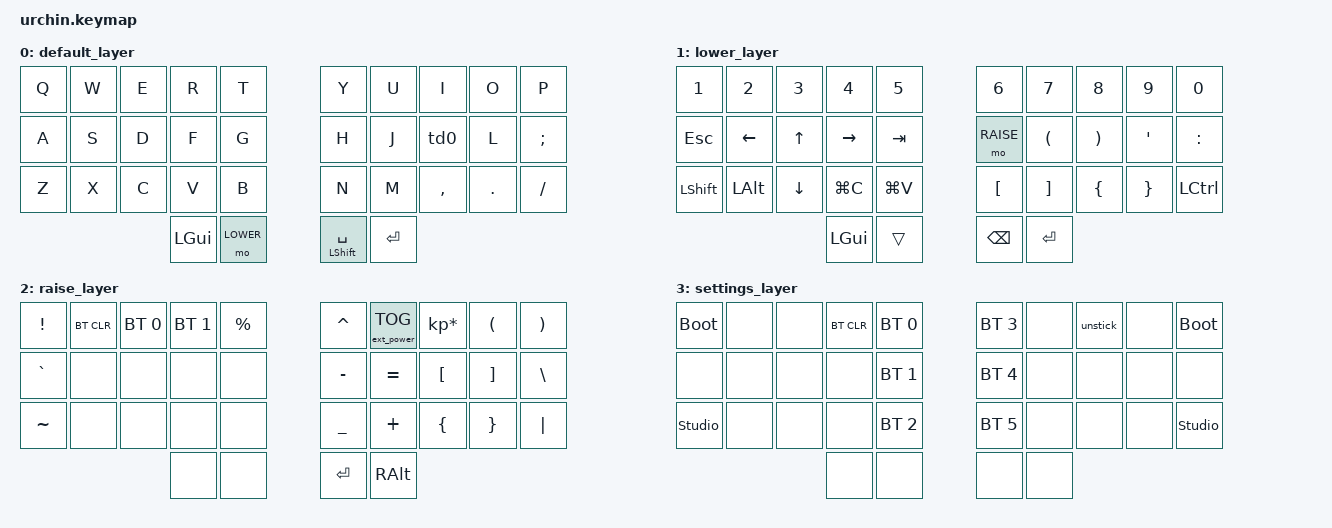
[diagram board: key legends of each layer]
/*
 * Copyright (c) 2020 duckyb
 *
 * SPDX-License-Identifier: MIT
 */

#include <behaviors.dtsi>
#include <dt-bindings/zmk/keys.h>
#include <dt-bindings/zmk/bt.h>
#include <dt-bindings/zmk/ext_power.h>
#include <dt-bindings/zmk/outputs.h>

// Layer definitions
#define BASE 0
#define LOWER 1
#define RAISE 2
#define SETTINGS 3
// -----------------

/ {
	behaviors {
		td0: tap_dance_0 {
			compatible = "zmk,behavior-tap-dance";
			#binding-cells = <0>;
			tapping-term-ms = <175>;
			bindings = <&kp Q>, <&kp N1>;
		};
		td1: tap_dance_1 {
			compatible = "zmk,behavior-tap-dance";
			#binding-cells = <0>;
			tapping-term-ms = <175>;
			bindings = <&kp W>, <&kp N2>;
		};
		td2: tap_dance_2 {
			compatible = "zmk,behavior-tap-dance";
			#binding-cells = <0>;
			tapping-term-ms = <175>;
			bindings = <&kp E>, <&kp N3>;
		};
		td3: tap_dance_3 {
			compatible = "zmk,behavior-tap-dance";
			#binding-cells = <0>;
			tapping-term-ms = <175>;
			bindings = <&kp R>, <&kp N4>;
		};
		td4: tap_dance_4 {
			compatible = "zmk,behavior-tap-dance";
			#binding-cells = <0>;
			tapping-term-ms = <175>;
			bindings = <&kp T>, <&kp N5>;
		};
		td5: tap_dance_5 {
			compatible = "zmk,behavior-tap-dance";
			#binding-cells = <0>;
			tapping-term-ms = <175>;
			bindings = <&kp Y>, <&kp N6>;
		};
		td6: tap_dance_6 {
			compatible = "zmk,behavior-tap-dance";
			#binding-cells = <0>;
			tapping-term-ms = <175>;
			bindings = <&kp U>, <&kp N7>;
		};
		td7: tap_dance_7 {
			compatible = "zmk,behavior-tap-dance";
			#binding-cells = <0>;
			tapping-term-ms = <175>;
			bindings = <&kp I>, <&kp N8>;
		};
		td8: tap_dance_8 {
			compatible = "zmk,behavior-tap-dance";
			#binding-cells = <0>;
			tapping-term-ms = <175>;
			bindings = <&kp O>, <&kp N9>;
		};
		td9: tap_dance_9 {
			compatible = "zmk,behavior-tap-dance";
			#binding-cells = <0>;
			tapping-term-ms = <175>;
			bindings = <&kp P>, <&kp N0>;
		};
		td10: tap_dance_10 {
			compatible = "zmk,behavior-tap-dance";
			#binding-cells = <0>;
			tapping-term-ms = <175>;
			bindings = <&kp V>, <&kp LG(C)>;
		};
		td11: tap_dance_11 {
			compatible = "zmk,behavior-tap-dance";
			#binding-cells = <0>;
			tapping-term-ms = <175>;
			bindings = <&kp B>, <&kp LG(V)>;
		};
		td12: tap_dance_12 {
			compatible = "zmk,behavior-tap-dance";
			#binding-cells = <0>;
			tapping-term-ms = <175>;
			bindings = <&kp G>, <&kp LG(S)>;
		};
		td13: tap_dance_13 {
			compatible = "zmk,behavior-tap-dance";
			#binding-cells = <0>;
			tapping-term-ms = <175>;
			bindings = <&kp S>, <&kp LEFT>;
		};
		td14: tap_dance_14 {
			compatible = "zmk,behavior-tap-dance";
			#binding-cells = <0>;
			tapping-term-ms = <175>;
			bindings = <&kp F>, <&kp RIGHT>;
		};
		td15: tap_dance_15 {
			compatible = "zmk,behavior-tap-dance";
			#binding-cells = <0>;
			tapping-term-ms = <175>;
			bindings = <&kp D>, <&kp UP>;
		};
		td16: tap_dance_16 {
			compatible = "zmk,behavior-tap-dance";
			#binding-cells = <0>;
			tapping-term-ms = <175>;
			bindings = <&kp C>, <&kp DOWN>;
		};
		td17: tap_dance_17 {
			compatible = "zmk,behavior-tap-dance";
			#binding-cells = <0>;
			tapping-term-ms = <175>;
			bindings = <&kp J>, <&kp LPAR>;
		};
		td18: tap_dance_18 {
			compatible = "zmk,behavior-tap-dance";
			#binding-cells = <0>;
			tapping-term-ms = <175>;
			bindings = <&kp K>, <&kp RPAR>;
		};
		td19: tap_dance_19 {
			compatible = "zmk,behavior-tap-dance";
			#binding-cells = <0>;
			tapping-term-ms = <175>;
			bindings = <&kp N>, <&kp LBKT>;
		};
		td20: tap_dance_20 {
			compatible = "zmk,behavior-tap-dance";
			#binding-cells = <0>;
			tapping-term-ms = <175>;
			bindings = <&kp M>, <&kp RBKT>;
		};
		td21: tap_dance_21 {
			compatible = "zmk,behavior-tap-dance";
			#binding-cells = <0>;
			tapping-term-ms = <175>;
			bindings = <&kp COMMA>, <&kp LBRC>;
		};
		td22: tap_dance_22 {
			compatible = "zmk,behavior-tap-dance";
			#binding-cells = <0>;
			tapping-term-ms = <175>;
			bindings = <&kp DOT>, <&kp RBRC>;
		};
		td23: tap_dance_23 {
			compatible = "zmk,behavior-tap-dance";
			#binding-cells = <0>;
			tapping-term-ms = <175>;
			bindings = <&kp H>, <&kp MINUS>;
		};
		td24: tap_dance_24 {
			compatible = "zmk,behavior-tap-dance";
			#binding-cells = <0>;
			tapping-term-ms = <175>;
			bindings = <&kp L>, <&kp PLUS>;
		};
		td25: tap_dance_25 {
			compatible = "zmk,behavior-tap-dance";
			#binding-cells = <0>;
			tapping-term-ms = <175>;
			bindings = <&kp V>, <&kp LC(C)>;
		};
		td26: tap_dance_26 {
			compatible = "zmk,behavior-tap-dance";
			#binding-cells = <0>;
			tapping-term-ms = <175>;
			bindings = <&kp B>, <&kp LC(V)>;
		};
	};

	macros {
		unstick: unstick {
			compatible = "zmk,behavior-macro";
			#binding-cells = <0>;
			bindings = <&kp LSHIFT &kp RSHIFT &kp LCTRL &kp RCTRL &kp LALT &kp RALT &kp LGUI &kp RGUI>;
		};
	};

	combos {
		compatible = "zmk,combos";
		// both left thumb keys
		combo_settings {
			timeout-ms = <200>;
			key-positions = <30 31>;
			bindings = <&mo SETTINGS>;
		};
	};

	keymap {
		compatible = "zmk,keymap";

		default_layer {
			bindings = <
			&kp Q &kp W &kp E &kp R &kp T           &kp Y &kp U  &kp I     &kp O   &kp P
			&kp A &kp S &kp D &kp F &kp G           &kp H &kp J  &td0      &kp L   &kp SEMI
			&kp Z &kp X &kp C &kp V &kp B           &kp N &kp M  &kp COMMA &kp DOT &kp FSLH
			                  &kp LGUI &mo LOWER     &mt LSHFT SPACE &kp RET
			>;
		};

		lower_layer {
			bindings = <
			&kp N1    &kp N2   &kp N3 &kp N4    &kp N5        &kp N6   &kp N7   &kp N8   &kp N9   &kp N0
			&kp ESC   &kp LEFT &kp UP &kp RIGHT &kp TAB       &mo RAISE &kp LPAR &kp RPAR &kp SQT  &kp COLON
			&kp LSHFT &kp LALT &kp DOWN &kp LG(C) &kp LG(V)  &kp LBKT &kp RBKT &kp LBRC &kp RBRC &kp LCTRL
			                            &kp LGUI &trans        &kp BSPC &kp RET
			>;
		};

		raise_layer {
			bindings = <
			&kp EXCL &bt BT_CLR &bt BT_SEL 0 &bt BT_SEL 1 &kp PRCNT      &kp CARET &ext_power EP_TOG &kp KP_MULTIPLY &kp LPAR &kp RPAR
			&kp GRAVE &none     &none         &none         &none          &kp MINUS &kp EQUAL &kp LBKT &kp RBKT &kp BSLH
			&kp TILDE &none     &none         &none         &none          &kp UNDER &kp PLUS  &kp LBRC &kp RBRC &kp PIPE
			                                  &none &none                  &kp RET &kp RALT
			>;
		};

		settings_layer {
			bindings = <
			&bootloader &none &none &bt BT_CLR &bt BT_SEL 0       &bt BT_SEL 3 &none &unstick &none &bootloader
			&none &none &none &none      &bt BT_SEL 1              &bt BT_SEL 4 &none &none &none &none
			&studio_unlock &none &none &none      &bt BT_SEL 2    &bt BT_SEL 5 &none &none &none &studio_unlock
			                            &none &none                &none &none
			>;
		};
	};
};
